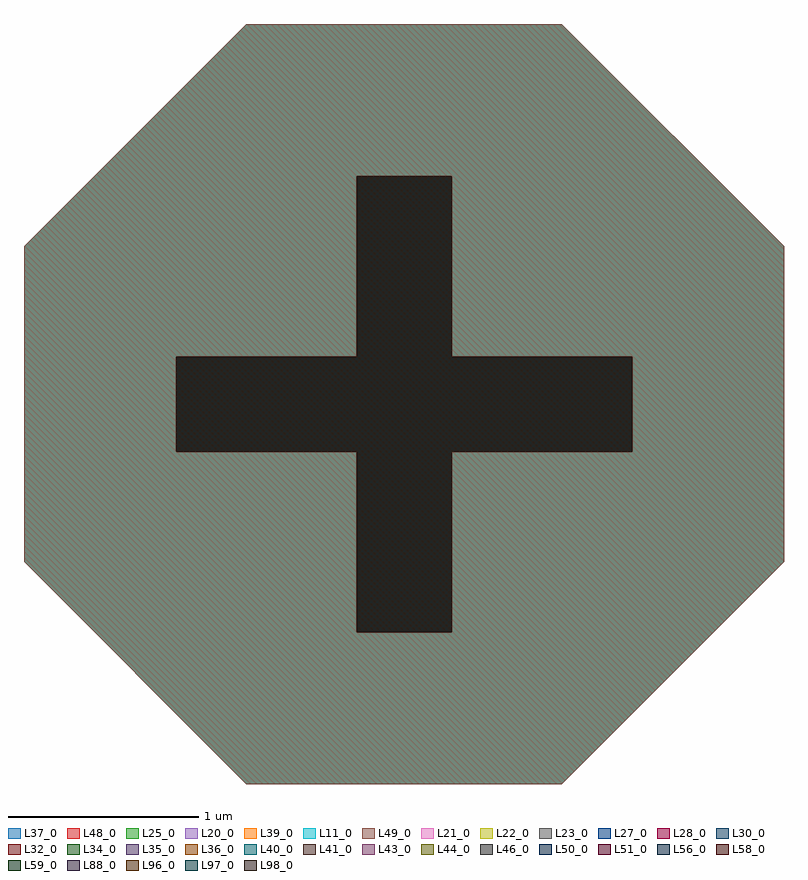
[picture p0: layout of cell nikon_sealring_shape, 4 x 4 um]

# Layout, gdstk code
import gdstk
lib = gdstk.Library(unit=1e-6, precision=1e-09)
def R(c, l, rs):  # rectangles x0, y0, x1, y1
    for r in rs: c.add(gdstk.rectangle(r[:2], r[2:], *l))
def P(c, l, *ps):  # polygons
    for p in ps: c.add(gdstk.Polygon(p, *l))
L11_0 = (11, 0)
L20_0 = (20, 0)
L21_0 = (21, 0)
L22_0 = (22, 0)
L23_0 = (23, 0)
L25_0 = (25, 0)
L27_0 = (27, 0)
L28_0 = (28, 0)
L30_0 = (30, 0)
L32_0 = (32, 0)
L34_0 = (34, 0)
L35_0 = (35, 0)
L36_0 = (36, 0)
L37_0 = (37, 0)
L39_0 = (39, 0)
L40_0 = (40, 0)
L41_0 = (41, 0)
L43_0 = (43, 0)
L44_0 = (44, 0)
L46_0 = (46, 0)
L48_0 = (48, 0)
L49_0 = (49, 0)
L50_0 = (50, 0)
L51_0 = (51, 0)
L56_0 = (56, 0)
L58_0 = (58, 0)
L59_0 = (59, 0)
L88_0 = (88, 0)
L96_0 = (96, 0)
L97_0 = (97, 0)
L98_0 = (98, 0)

sr_polygon00007 = lib.new_cell('sr_polygon00007')
R(sr_polygon00007, L37_0, [(1.17,0,2.83,0.8), (1.17,0.8,1.75,1.17), (2.25,0.8,2.83,1.17), (0,1.17,1.75,1.75), (2.25,1.17,4,1.75), (0,1.75,0.8,2.25), (3.2,1.75,4,2.25), (0,2.25,1.75,2.83), (2.25,2.25,4,2.83), (1.17,2.83,1.75,3.2), (2.25,2.83,2.83,3.2), (1.17,3.2,2.83,4)])
P(sr_polygon00007, L37_0, [(0,2.83),(1.17,2.83),(1.17,4)],
  [(2.83,4),(2.83,2.83),(4,2.83)],
  [(0,1.17),(1.17,1.17),(1.17,0)],
  [(2.83,0),(2.83,1.17),(4,1.17)])

sr_polygon00001 = lib.new_cell('sr_polygon00001')
R(sr_polygon00001, L48_0, [(1.17,0,2.83,0.8), (1.17,0.8,1.75,1.17), (2.25,0.8,2.83,1.17), (0,1.17,1.75,1.75), (2.25,1.17,4,1.75), (0,1.75,0.8,2.25), (3.2,1.75,4,2.25), (0,2.25,1.75,2.83), (2.25,2.25,4,2.83), (1.17,2.83,1.75,3.2), (2.25,2.83,2.83,3.2), (1.17,3.2,2.83,4)])
P(sr_polygon00001, L48_0, [(0,2.83),(1.17,2.83),(1.17,4)],
  [(2.83,4),(2.83,2.83),(4,2.83)],
  [(0,1.17),(1.17,1.17),(1.17,0)],
  [(2.83,0),(2.83,1.17),(4,1.17)])

sr_polygon00002 = lib.new_cell('sr_polygon00002')
R(sr_polygon00002, L25_0, [(1.17,0,2.83,0.8), (1.17,0.8,1.75,1.17), (2.25,0.8,2.83,1.17), (0,1.17,1.75,1.75), (2.25,1.17,4,1.75), (0,1.75,0.8,2.25), (3.2,1.75,4,2.25), (0,2.25,1.75,2.83), (2.25,2.25,4,2.83), (1.17,2.83,1.75,3.2), (2.25,2.83,2.83,3.2), (1.17,3.2,2.83,4)])
P(sr_polygon00002, L25_0, [(0,2.83),(1.17,2.83),(1.17,4)],
  [(2.83,4),(2.83,2.83),(4,2.83)],
  [(0,1.17),(1.17,1.17),(1.17,0)],
  [(2.83,0),(2.83,1.17),(4,1.17)])

sr_polygon00003 = lib.new_cell('sr_polygon00003')
R(sr_polygon00003, L20_0, [(1.17,0,2.83,0.8), (1.17,0.8,1.75,1.17), (2.25,0.8,2.83,1.17), (0,1.17,1.75,1.75), (2.25,1.17,4,1.75), (0,1.75,0.8,2.25), (3.2,1.75,4,2.25), (0,2.25,1.75,2.83), (2.25,2.25,4,2.83), (1.17,2.83,1.75,3.2), (2.25,2.83,2.83,3.2), (1.17,3.2,2.83,4)])
P(sr_polygon00003, L20_0, [(0,2.83),(1.17,2.83),(1.17,4)],
  [(2.83,4),(2.83,2.83),(4,2.83)],
  [(0,1.17),(1.17,1.17),(1.17,0)],
  [(2.83,0),(2.83,1.17),(4,1.17)])

sr_polygon00004 = lib.new_cell('sr_polygon00004')
R(sr_polygon00004, L39_0, [(1.17,0,2.83,0.8), (1.17,0.8,1.75,1.17), (2.25,0.8,2.83,1.17), (0,1.17,1.75,1.75), (2.25,1.17,4,1.75), (0,1.75,0.8,2.25), (3.2,1.75,4,2.25), (0,2.25,1.75,2.83), (2.25,2.25,4,2.83), (1.17,2.83,1.75,3.2), (2.25,2.83,2.83,3.2), (1.17,3.2,2.83,4)])
P(sr_polygon00004, L39_0, [(0,2.83),(1.17,2.83),(1.17,4)],
  [(2.83,4),(2.83,2.83),(4,2.83)],
  [(0,1.17),(1.17,1.17),(1.17,0)],
  [(2.83,0),(2.83,1.17),(4,1.17)])

sr_polygon00005 = lib.new_cell('sr_polygon00005')
R(sr_polygon00005, L11_0, [(1.17,0,2.83,0.8), (1.17,0.8,1.75,1.17), (2.25,0.8,2.83,1.17), (0,1.17,1.75,1.75), (2.25,1.17,4,1.75), (0,1.75,0.8,2.25), (3.2,1.75,4,2.25), (0,2.25,1.75,2.83), (2.25,2.25,4,2.83), (1.17,2.83,1.75,3.2), (2.25,2.83,2.83,3.2), (1.17,3.2,2.83,4)])
P(sr_polygon00005, L11_0, [(0,2.83),(1.17,2.83),(1.17,4)],
  [(2.83,4),(2.83,2.83),(4,2.83)],
  [(0,1.17),(1.17,1.17),(1.17,0)],
  [(2.83,0),(2.83,1.17),(4,1.17)])

sr_polygon00006 = lib.new_cell('sr_polygon00006')
R(sr_polygon00006, L49_0, [(1.17,0,2.83,0.8), (1.17,0.8,1.75,1.17), (2.25,0.8,2.83,1.17), (0,1.17,1.75,1.75), (2.25,1.17,4,1.75), (0,1.75,0.8,2.25), (3.2,1.75,4,2.25), (0,2.25,1.75,2.83), (2.25,2.25,4,2.83), (1.17,2.83,1.75,3.2), (2.25,2.83,2.83,3.2), (1.17,3.2,2.83,4)])
P(sr_polygon00006, L49_0, [(0,2.83),(1.17,2.83),(1.17,4)],
  [(2.83,4),(2.83,2.83),(4,2.83)],
  [(0,1.17),(1.17,1.17),(1.17,0)],
  [(2.83,0),(2.83,1.17),(4,1.17)])

nikon_sealring_shape = lib.new_cell('nikon_sealring_shape')
R(nikon_sealring_shape, L21_0, [(1.75,0.8,2.25,1.75), (0.8,1.75,3.2,2.25), (1.75,2.25,2.25,3.2)])
R(nikon_sealring_shape, L22_0, [(1.75,0.8,2.25,1.75), (0.8,1.75,3.2,2.25), (1.75,2.25,2.25,3.2)])
R(nikon_sealring_shape, L23_0, [(1.75,0.8,2.25,1.75), (0.8,1.75,3.2,2.25), (1.75,2.25,2.25,3.2)])
R(nikon_sealring_shape, L27_0, [(1.75,0.8,2.25,1.75), (0.8,1.75,3.2,2.25), (1.75,2.25,2.25,3.2)])
R(nikon_sealring_shape, L28_0, [(1.75,0.8,2.25,1.75), (0.8,1.75,3.2,2.25), (1.75,2.25,2.25,3.2)])
R(nikon_sealring_shape, L30_0, [(1.75,0.8,2.25,1.75), (0.8,1.75,3.2,2.25), (1.75,2.25,2.25,3.2)])
R(nikon_sealring_shape, L32_0, [(1.75,0.8,2.25,1.75), (0.8,1.75,3.2,2.25), (1.75,2.25,2.25,3.2)])
R(nikon_sealring_shape, L34_0, [(1.75,0.8,2.25,1.75), (0.8,1.75,3.2,2.25), (1.75,2.25,2.25,3.2)])
R(nikon_sealring_shape, L35_0, [(1.75,0.8,2.25,1.75), (0.8,1.75,3.2,2.25), (1.75,2.25,2.25,3.2)])
R(nikon_sealring_shape, L36_0, [(1.75,0.8,2.25,1.75), (0.8,1.75,3.2,2.25), (1.75,2.25,2.25,3.2)])
R(nikon_sealring_shape, L40_0, [(1.75,0.8,2.25,1.75), (0.8,1.75,3.2,2.25), (1.75,2.25,2.25,3.2)])
R(nikon_sealring_shape, L41_0, [(1.75,0.8,2.25,1.75), (0.8,1.75,3.2,2.25), (1.75,2.25,2.25,3.2)])
R(nikon_sealring_shape, L43_0, [(1.75,0.8,2.25,1.75), (0.8,1.75,3.2,2.25), (1.75,2.25,2.25,3.2)])
R(nikon_sealring_shape, L44_0, [(1.75,0.8,2.25,1.75), (0.8,1.75,3.2,2.25), (1.75,2.25,2.25,3.2)])
R(nikon_sealring_shape, L46_0, [(1.75,0.8,2.25,1.75), (0.8,1.75,3.2,2.25), (1.75,2.25,2.25,3.2)])
R(nikon_sealring_shape, L50_0, [(1.75,0.8,2.25,1.75), (0.8,1.75,3.2,2.25), (1.75,2.25,2.25,3.2)])
R(nikon_sealring_shape, L51_0, [(1.75,0.8,2.25,1.75), (0.8,1.75,3.2,2.25), (1.75,2.25,2.25,3.2)])
R(nikon_sealring_shape, L56_0, [(1.75,0.8,2.25,1.75), (0.8,1.75,3.2,2.25), (1.75,2.25,2.25,3.2)])
R(nikon_sealring_shape, L58_0, [(1.75,0.8,2.25,1.75), (0.8,1.75,3.2,2.25), (1.75,2.25,2.25,3.2)])
R(nikon_sealring_shape, L59_0, [(1.75,0.8,2.25,1.75), (0.8,1.75,3.2,2.25), (1.75,2.25,2.25,3.2)])
R(nikon_sealring_shape, L88_0, [(1.75,0.8,2.25,1.75), (0.8,1.75,3.2,2.25), (1.75,2.25,2.25,3.2)])
R(nikon_sealring_shape, L96_0, [(1.75,0.8,2.25,1.75), (0.8,1.75,3.2,2.25), (1.75,2.25,2.25,3.2)])
R(nikon_sealring_shape, L97_0, [(1.75,0.8,2.25,1.75), (0.8,1.75,3.2,2.25), (1.75,2.25,2.25,3.2)])
R(nikon_sealring_shape, L98_0, [(1.75,0.8,2.25,1.75), (0.8,1.75,3.2,2.25), (1.75,2.25,2.25,3.2)])
nikon_sealring_shape.add(gdstk.Reference(sr_polygon00007, (0,0)))
nikon_sealring_shape.add(gdstk.Reference(sr_polygon00001, (0,0)))
nikon_sealring_shape.add(gdstk.Reference(sr_polygon00002, (0,0)))
nikon_sealring_shape.add(gdstk.Reference(sr_polygon00003, (0,0)))
nikon_sealring_shape.add(gdstk.Reference(sr_polygon00004, (0,0)))
nikon_sealring_shape.add(gdstk.Reference(sr_polygon00005, (0,0)))
nikon_sealring_shape.add(gdstk.Reference(sr_polygon00006, (0,0)))

lib.write_gds('nikon_sealring_shape.gds')
